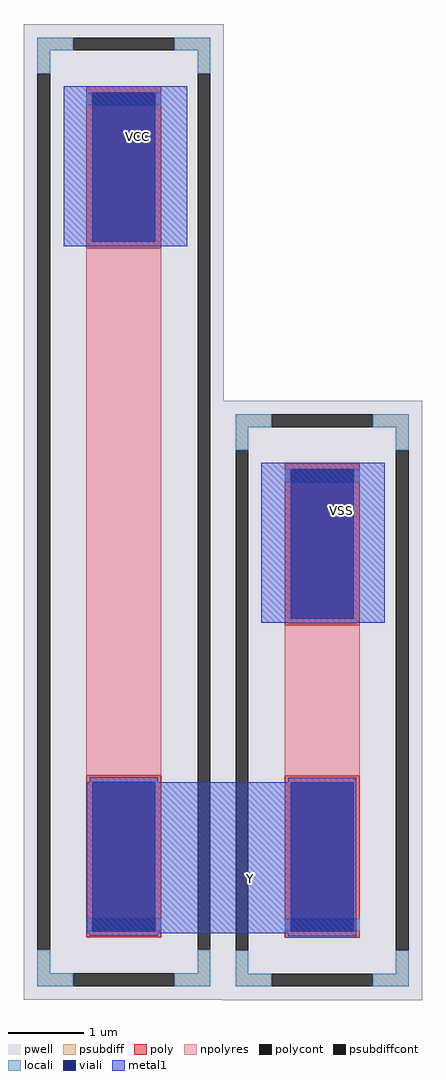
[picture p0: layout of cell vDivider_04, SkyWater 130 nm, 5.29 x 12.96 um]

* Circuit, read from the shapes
.subckt vDivider_04 VCC VSS Y
R1 VCC Y sky130_fd_pr__res_generic_po w=1 l=7
R2 VSS Y sky130_fd_pr__res_generic_po w=1 l=2
.ends

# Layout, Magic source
magic
tech sky130B
magscale 1 2
<< metal1 >>
rect 54 2548 382 2974
rect 578 1548 906 1974
rect 114 724 824 1124
use sky130_fd_pr__res_generic_po_EYFBEM  R1
transform 1 0 740 0 1 1342
box -266 -796 266 796
use sky130_fd_pr__res_generic_po_F24UGF  R3
transform 1 0 213 0 1 1843
box -266 -1296 266 1296
<< labels >>
flabel metal1 450 770 650 970 0 FreeSans 256 0 0 0 Y
port 2 nsew
flabel metal1 690 1746 890 1946 0 FreeSans 256 0 0 0 VSS
port 1 nsew
flabel metal1 150 2740 350 2940 0 FreeSans 256 0 0 0 VCC
port 0 nsew
<< end >>

# cell sky130_fd_pr__res_generic_po_EYFBEM: kit device sky130_fd_pr__res_generic_po, w 1.0 l 2.0 m 1 nx 1 wmin 0.330 lmin 1.650 rho 48.2 val 96.4 dummy 0 dw 0.0 term 0.0 sterm 0.0 caplen 0.4 snake 0 guard 1 glc 1 grc 1 gtc 1 gbc 1 roverlap 0 endcov 100 full_metal 1 hv_guard 0 n_guard 0 vias 1 viagb 0 viagt 0 viagl 0 viagr 0

# cell sky130_fd_pr__res_generic_po_F24UGF: kit device sky130_fd_pr__res_generic_po, w 1.0 l 7.0 m 1 nx 1 wmin 0.330 lmin 1.650 rho 48.2 val 337.4 dummy 0 dw 0.0 term 0.0 sterm 0.0 caplen 0.4 snake 0 guard 1 glc 1 grc 1 gtc 1 gbc 1 roverlap 0 endcov 100 full_metal 1 hv_guard 0 n_guard 0 vias 1 viagb 0 viagt 0 viagl 0 viagr 0
